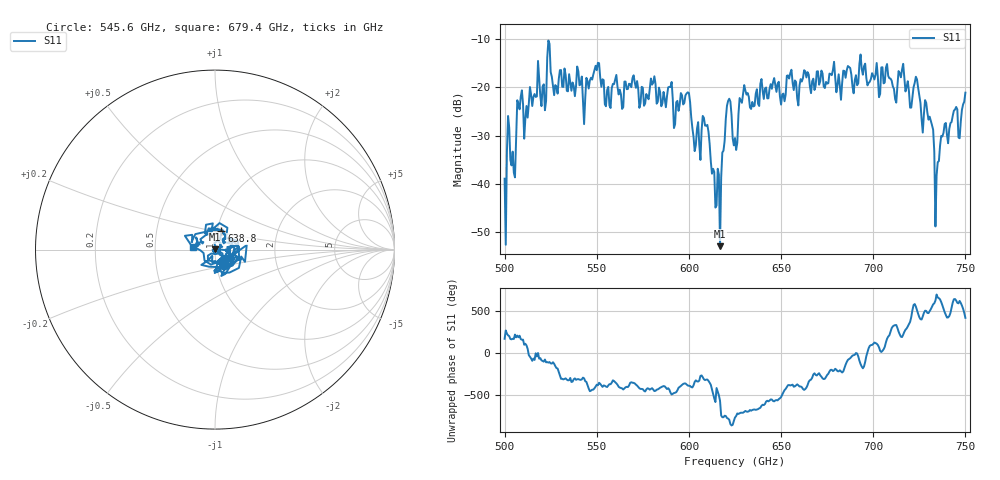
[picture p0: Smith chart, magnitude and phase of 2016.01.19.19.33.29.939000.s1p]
!Created with skrf (http://scikit-rf.org).
# GHz S RI R 50.0
!freq ReS11 ImS11
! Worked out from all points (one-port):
!   401 points, 500 GHz to 750 GHz, reference 50 ohm
!   lowest |S11| = -52.9 dB at 616.9 GHz (marker M1), VSWR 1.00, Z = 49.8 + j0.0969 ohm
!   |S11| at or under -10 dB: start of sweep to end of sweep
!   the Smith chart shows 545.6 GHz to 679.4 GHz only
!   S11 on the Smith chart (normalised r, x): 545.6 GHz: 1.09, -0.19; 638.8 GHz: 1.05, +0.22; 679.4 GHz: 0.78, +0.02
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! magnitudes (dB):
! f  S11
! 500 GHz  -38.9
! 502.5 GHz  -28.3
! 505 GHz  -37.6
! 508.1 GHz  -24.5
! 521.2 GHz  -19.3
! 524.4 GHz  -10.9
! 527.5 GHz  -19.5
! 531.2 GHz  -19.8
! 545.6 GHz  -20.2
! 562.5 GHz  -20.4
! 580.6 GHz  -19.0
! 593.8 GHz  -22.8
! 605 GHz  -27.2
! 608.8 GHz  -27.9
! 615.6 GHz  -36.8
! 616.9 GHz  -52.9
! 621.2 GHz  -22.8
! 625 GHz  -30.5
! 628.8 GHz  -23.2
! 638.8 GHz  -19.2
! 656.2 GHz  -19.0
! 679.4 GHz  -18.0
! 687.5 GHz  -16.0
! 718.8 GHz  -18.7
! 729.4 GHz  -25.2
! 734.4 GHz  -38.2
! 738.1 GHz  -29.4
! 750 GHz  -21.1
